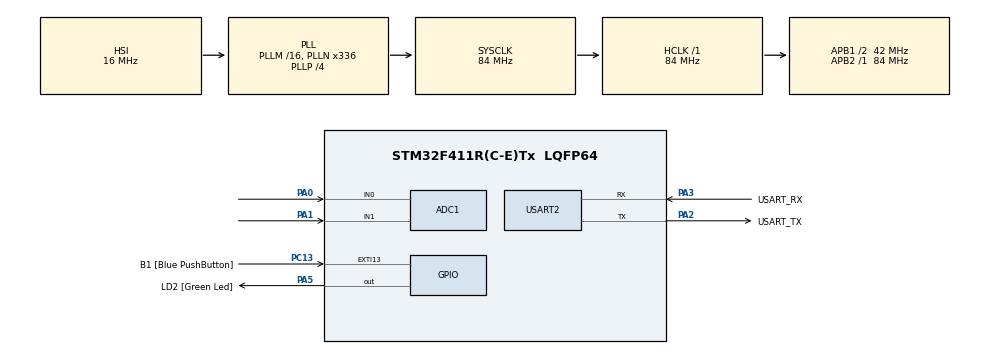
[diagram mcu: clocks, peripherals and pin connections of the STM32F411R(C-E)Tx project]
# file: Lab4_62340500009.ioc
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ADC1.Channel-0\#ChannelRegularConversion=ADC_CHANNEL_0
ADC1.Channel-1\#ChannelRegularConversion=ADC_CHANNEL_1
ADC1.Channel-2\#ChannelRegularConversion=ADC_CHANNEL_TEMPSENSOR
ADC1.Channel-3\#ChannelRegularConversion=ADC_CHANNEL_VREFINT
ADC1.ContinuousConvMode=ENABLE
ADC1.DMAContinuousRequests=ENABLE
ADC1.DiscontinuousConvMode=DISABLE
ADC1.NbrOfConversion=4
ADC1.NbrOfConversionFlag=1
ADC1.Rank-0\#ChannelRegularConversion=1
ADC1.Rank-1\#ChannelRegularConversion=2
ADC1.Rank-2\#ChannelRegularConversion=3
ADC1.Rank-3\#ChannelRegularConversion=4
ADC1.SamplingTime-0\#ChannelRegularConversion=ADC_SAMPLETIME_480CYCLES
ADC1.SamplingTime-1\#ChannelRegularConversion=ADC_SAMPLETIME_480CYCLES
ADC1.SamplingTime-2\#ChannelRegularConversion=ADC_SAMPLETIME_480CYCLES
ADC1.SamplingTime-3\#ChannelRegularConversion=ADC_SAMPLETIME_480CYCLES
ADC1.master=1
Dma.ADC1.0.Direction=DMA_PERIPH_TO_MEMORY
Dma.ADC1.0.FIFOMode=DMA_FIFOMODE_DISABLE
Dma.ADC1.0.Instance=DMA2_Stream0
Dma.ADC1.0.MemDataAlignment=DMA_MDATAALIGN_WORD
Dma.ADC1.0.MemInc=DMA_MINC_ENABLE
Dma.ADC1.0.Mode=DMA_CIRCULAR
Dma.ADC1.0.PeriphDataAlignment=DMA_PDATAALIGN_WORD
Dma.ADC1.0.PeriphInc=DMA_PINC_DISABLE
Dma.ADC1.0.Priority=DMA_PRIORITY_LOW
Dma.Request0=ADC1
Mcu.Family=STM32F4
Mcu.Name=STM32F411R(C-E)Tx
Mcu.Package=LQFP64
NVIC.DMA2_Stream0_IRQn=true\:0\:0\:false\:false\:true\:false\:true
NVIC.EXTI15_10_IRQn=true\:0\:0\:false\:false\:true\:true\:true
NVIC.PriorityGroup=NVIC_PRIORITYGROUP_0
PA0-WKUP.Signal=ADCx_IN0
PA1.Signal=ADCx_IN1
PA13.GPIO_Label=TMS
PA13.Mode=Serial_Wire
PA13.Signal=SYS_JTMS-SWDIO
PA14.GPIO_Label=TCK
PA14.Mode=Serial_Wire
PA14.Signal=SYS_JTCK-SWCLK
PA2.GPIO_Label=USART_TX
PA2.Mode=Asynchronous
PA2.Signal=USART2_TX
PA3.GPIO_Label=USART_RX
PA3.Mode=Asynchronous
PA3.Signal=USART2_RX
PA5.GPIO_Label=LD2 [Green Led]
PA5.PinState=GPIO_PIN_SET
PA5.Signal=GPIO_Output
PB3.GPIO_Label=SWO
PB3.Signal=SYS_JTDO-SWO
PC13-ANTI_TAMP.GPIO_Label=B1 [Blue PushButton]
PC13-ANTI_TAMP.GPIO_ModeDefaultEXTI=GPIO_MODE_IT_RISING_FALLING
PC13-ANTI_TAMP.Signal=GPXTI13
PC14-OSC32_IN.Mode=LSE-External-Oscillator
PC14-OSC32_IN.Signal=RCC_OSC32_IN
PC15-OSC32_OUT.Mode=LSE-External-Oscillator
PC15-OSC32_OUT.Signal=RCC_OSC32_OUT
PH0\ -\ OSC_IN.Mode=HSE-External-Clock-Source
PH0\ -\ OSC_IN.Signal=RCC_OSC_IN
PH1\ -\ OSC_OUT.Mode=HSE-External-Clock-Source
PH1\ -\ OSC_OUT.Signal=RCC_OSC_OUT
ProjectManager.HeapSize=0x200
ProjectManager.StackSize=0x400
ProjectManager.TargetToolchain=STM32CubeIDE
RCC.48MHZClocksFreq_Value=84000000
RCC.AHBFreq_Value=84000000
RCC.APB1CLKDivider=RCC_HCLK_DIV2
RCC.APB1Freq_Value=42000000
RCC.APB1TimFreq_Value=84000000
RCC.APB2Freq_Value=84000000
RCC.APB2TimFreq_Value=84000000
RCC.CortexFreq_Value=84000000
RCC.FLatency-AdvancedSettings=FLASH_LATENCY_2
RCC.HCLKFreq_Value=84000000
RCC.HSE_VALUE=8000000
RCC.HSI_VALUE=16000000
RCC.PLLN=336
RCC.PLLP=RCC_PLLP_DIV4
RCC.SYSCLKFreq_VALUE=84000000
RCC.SYSCLKSource=RCC_SYSCLKSOURCE_PLLCLK
RCC.VCOOutputFreq_Value=336000000
SH.ADCx_IN0.0=ADC1_IN0,IN0
SH.ADCx_IN1.0=ADC1_IN1,IN1
USART2.VirtualMode=VM_ASYNC
VP_ADC1_TempSens_Input.Mode=IN-TempSens
VP_ADC1_Vref_Input.Mode=IN-Vrefint
board=NUCLEO-F411RE

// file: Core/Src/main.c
/* USER CODE BEGIN Header */
/**
  ******************************************************************************
  * @file           : main.c
  * @brief          : Main program body
  ******************************************************************************
  * @attention
  *
  * <h2><center>&copy; Copyright (c) 2021 STMicroelectronics.
  * All rights reserved.</center></h2>
  *
  * This software component is licensed by ST under BSD 3-Clause license,
  * the "License"; You may not use this file except in compliance with the
  * License. You may obtain a copy of the License at:
  *                        opensource.org/licenses/BSD-3-Clause
  *
  ******************************************************************************
  */
/* USER CODE END Header */
#include "main.h"

ADC_HandleTypeDef hadc1;
DMA_HandleTypeDef hdma_adc1;

UART_HandleTypeDef huart2;

/* USER CODE BEGIN PV */
uint32_t ADCData[4]={0};
uint32_t random = 0;
uint32_t timestamp = 0;
uint32_t backvalue = 0;
GPIO_PinState Switch[2];
int condition = 0;
/* USER CODE END PV */

void SystemClock_Config(void);
static void MX_GPIO_Init(void);
static void MX_DMA_Init(void);
static void MX_USART2_UART_Init(void);
static void MX_ADC1_Init(void);

int main(void)
{

  /* MCU Configuration--------------------------------------------------------*/

  /* Reset of all peripherals, Initializes the Flash interface and the Systick. */
  HAL_Init();

  /* Configure the system clock */
  SystemClock_Config();

  /* Initialize all configured peripherals */
  MX_GPIO_Init();
  MX_DMA_Init();
  MX_USART2_UART_Init();
  MX_ADC1_Init();
  /* USER CODE BEGIN 2 */
  HAL_ADC_Start_DMA(&hadc1, ADCData, 4);
  /* USER CODE END 2 */

  /* Infinite loop */
  /* USER CODE BEGIN WHILE */
  while (1)
  {
	  if(condition == 1)
	  {
		  if(HAL_GetTick() - timestamp >= random)
		  {
			  HAL_GPIO_TogglePin(LD2_GPIO_Port, LD2_Pin);
			  condition = 2;
		  }
	  }
    /* USER CODE END WHILE */

  }
}

void SystemClock_Config(void)
{
  RCC_OscInitTypeDef RCC_OscInitStruct = {0};
  RCC_ClkInitTypeDef RCC_ClkInitStruct = {0};

  /** Configure the main internal regulator output voltage
  */
  __HAL_RCC_PWR_CLK_ENABLE();
  __HAL_PWR_VOLTAGESCALING_CONFIG(PWR_REGULATOR_VOLTAGE_SCALE1);
  /** Initializes the RCC Oscillators according to the specified parameters
  * in the RCC_OscInitTypeDef structure.
  */
  RCC_OscInitStruct.OscillatorType = RCC_OSCILLATORTYPE_HSI;
  RCC_OscInitStruct.HSIState = RCC_HSI_ON;
  RCC_OscInitStruct.HSICalibrationValue = RCC_HSICALIBRATION_DEFAULT;
  RCC_OscInitStruct.PLL.PLLState = RCC_PLL_ON;
  RCC_OscInitStruct.PLL.PLLSource = RCC_PLLSOURCE_HSI;
  RCC_OscInitStruct.PLL.PLLM = 16;
  RCC_OscInitStruct.PLL.PLLN = 336;
  RCC_OscInitStruct.PLL.PLLP = RCC_PLLP_DIV4;
  RCC_OscInitStruct.PLL.PLLQ = 4;
  if (HAL_RCC_OscConfig(&RCC_OscInitStruct) != HAL_OK)
  {
    Error_Handler();
  }
  /** Initializes the CPU, AHB and APB buses clocks
  */
  RCC_ClkInitStruct.ClockType = RCC_CLOCKTYPE_HCLK|RCC_CLOCKTYPE_SYSCLK
                              |RCC_CLOCKTYPE_PCLK1|RCC_CLOCKTYPE_PCLK2;
  RCC_ClkInitStruct.SYSCLKSource = RCC_SYSCLKSOURCE_PLLCLK;
  RCC_ClkInitStruct.AHBCLKDivider = RCC_SYSCLK_DIV1;
  RCC_ClkInitStruct.APB1CLKDivider = RCC_HCLK_DIV2;
  RCC_ClkInitStruct.APB2CLKDivider = RCC_HCLK_DIV1;

  if (HAL_RCC_ClockConfig(&RCC_ClkInitStruct, FLASH_LATENCY_2) != HAL_OK)
  {
    Error_Handler();
  }
}

static void MX_ADC1_Init(void)
{

  ADC_ChannelConfTypeDef sConfig = {0};

  /** Configure the global features of the ADC (Clock, Resolution, Data Alignment and number of conversion)
  */
  hadc1.Instance = ADC1;
  hadc1.Init.ClockPrescaler = ADC_CLOCK_SYNC_PCLK_DIV4;
  hadc1.Init.Resolution = ADC_RESOLUTION_12B;
  hadc1.Init.ScanConvMode = ENABLE;
  hadc1.Init.ContinuousConvMode = ENABLE;
  hadc1.Init.DiscontinuousConvMode = DISABLE;
  hadc1.Init.ExternalTrigConvEdge = ADC_EXTERNALTRIGCONVEDGE_NONE;
  hadc1.Init.ExternalTrigConv = ADC_SOFTWARE_START;
  hadc1.Init.DataAlign = ADC_DATAALIGN_RIGHT;
  hadc1.Init.NbrOfConversion = 4;
  hadc1.Init.DMAContinuousRequests = ENABLE;
  hadc1.Init.EOCSelection = ADC_EOC_SINGLE_CONV;
  if (HAL_ADC_Init(&hadc1) != HAL_OK)
  {
    Error_Handler();
  }
  /** Configure for the selected ADC regular channel its corresponding rank in the sequencer and its sample time.
  */
  sConfig.Channel = ADC_CHANNEL_0;
  sConfig.Rank = 1;
  sConfig.SamplingTime = ADC_SAMPLETIME_480CYCLES;
  if (HAL_ADC_ConfigChannel(&hadc1, &sConfig) != HAL_OK)
  {
    Error_Handler();
  }
  /** Configure for the selected ADC regular channel its corresponding rank in the sequencer and its sample time.
  */
  sConfig.Channel = ADC_CHANNEL_1;
  sConfig.Rank = 2;
  if (HAL_ADC_ConfigChannel(&hadc1, &sConfig) != HAL_OK)
  {
    Error_Handler();
  }
  /** Configure for the selected ADC regular channel its corresponding rank in the sequencer and its sample time.
  */
  sConfig.Channel = ADC_CHANNEL_TEMPSENSOR;
  sConfig.Rank = 3;
  if (HAL_ADC_ConfigChannel(&hadc1, &sConfig) != HAL_OK)
  {
    Error_Handler();
  }
  /** Configure for the selected ADC regular channel its corresponding rank in the sequencer and its sample time.
  */
  sConfig.Channel = ADC_CHANNEL_VREFINT;
  sConfig.Rank = 4;
  if (HAL_ADC_ConfigChannel(&hadc1, &sConfig) != HAL_OK)
  {
    Error_Handler();
  }

}

static void MX_USART2_UART_Init(void)
{

  huart2.Instance = USART2;
  huart2.Init.BaudRate = 115200;
  huart2.Init.WordLength = UART_WORDLENGTH_8B;
  huart2.Init.StopBits = UART_STOPBITS_1;
  huart2.Init.Parity = UART_PARITY_NONE;
  huart2.Init.Mode = UART_MODE_TX_RX;
  huart2.Init.HwFlowCtl = UART_HWCONTROL_NONE;
  huart2.Init.OverSampling = UART_OVERSAMPLING_16;
  if (HAL_UART_Init(&huart2) != HAL_OK)
  {
    Error_Handler();
  }

}

static void MX_DMA_Init(void)
{

  /* DMA controller clock enable */
  __HAL_RCC_DMA2_CLK_ENABLE();

  /* DMA interrupt init */
  /* DMA2_Stream0_IRQn interrupt configuration */
  HAL_NVIC_SetPriority(DMA2_Stream0_IRQn, 0, 0);
  HAL_NVIC_EnableIRQ(DMA2_Stream0_IRQn);

}

static void MX_GPIO_Init(void)
{
  GPIO_InitTypeDef GPIO_InitStruct = {0};

  /* GPIO Ports Clock Enable */
  __HAL_RCC_GPIOC_CLK_ENABLE();
  __HAL_RCC_GPIOH_CLK_ENABLE();
  __HAL_RCC_GPIOA_CLK_ENABLE();
  __HAL_RCC_GPIOB_CLK_ENABLE();

  /*Configure GPIO pin Output Level */
  HAL_GPIO_WritePin(LD2_GPIO_Port, LD2_Pin, GPIO_PIN_SET);

  /*Configure GPIO pin : B1_Pin */
  GPIO_InitStruct.Pin = B1_Pin;
  GPIO_InitStruct.Mode = GPIO_MODE_IT_RISING_FALLING;
  GPIO_InitStruct.Pull = GPIO_NOPULL;
  HAL_GPIO_Init(B1_GPIO_Port, &GPIO_InitStruct);

  /*Configure GPIO pin : LD2_Pin */
  GPIO_InitStruct.Pin = LD2_Pin;
  GPIO_InitStruct.Mode = GPIO_MODE_OUTPUT_PP;
  GPIO_InitStruct.Pull = GPIO_NOPULL;
  GPIO_InitStruct.Speed = GPIO_SPEED_FREQ_LOW;
  HAL_GPIO_Init(LD2_GPIO_Port, &GPIO_InitStruct);

  /* EXTI interrupt init*/
  HAL_NVIC_SetPriority(EXTI15_10_IRQn, 0, 0);
  HAL_NVIC_EnableIRQ(EXTI15_10_IRQn);

}

/* USER CODE BEGIN 4 */
void HAL_GPIO_EXTI_Callback(uint16_t GPIO_Pin)
{
	if(GPIO_Pin == GPIO_PIN_13)
	{
		if(condition == 0)
		{
			HAL_GPIO_TogglePin(LD2_GPIO_Port, LD2_Pin);
			random = 1000 + (((22695477 * ADCData[0]) + ADCData[1]) % 10000);
			timestamp = HAL_GetTick();
			condition = 1;
		}
		if(condition == 2)
		{
			Switch[0] = HAL_GPIO_ReadPin(GPIOC, GPIO_PIN_13);
			if(Switch[1] == 0 && Switch[0] == 1)
			{
				backvalue = HAL_GetTick() - timestamp - random;
				condition = 0;
			}
		}
	}
}
/* USER CODE END 4 */

void Error_Handler(void)
{
  __disable_irq();
  while (1)
  {
  }
}

/************************ (C) COPYRIGHT STMicroelectronics *****END OF FILE****/
